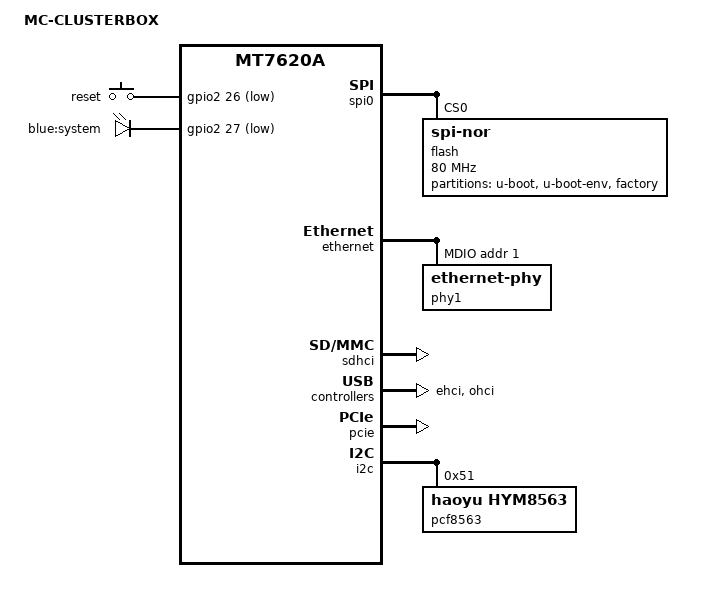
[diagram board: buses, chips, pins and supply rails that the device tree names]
#include "mt7620a.dtsi"

#include <dt-bindings/gpio/gpio.h>
#include <dt-bindings/input/input.h>

/ {
    compatible = "cluster-box-control","ralink,mt7620a-evb", "ralink,mt7620a-soc";
	model = "MC-CLUSTERBOX";

	chosen {
		bootargs = "console=ttyS0,115200 root=/dev/mmcblk0p2 rootwait rw";
	};

	aliases {
		led-boot = &led_system;
		led-failsafe = &led_system;
		led-running = &led_system;
		led-upgrade = &led_system;
	};

	keys {
		compatible = "gpio-keys";

		reset {
			label = "reset";
			gpios = <&gpio2 26 GPIO_ACTIVE_LOW>;
			linux,code = <KEY_RESTART>;
		};
	};

	leds {
		compatible = "gpio-leds";

		led_system: system {
			label = "blue:system";
			gpios = <&gpio2 27 GPIO_ACTIVE_LOW>;
		};
    };
};

&spi0 {
	status = "okay";

	flash@0 {
		compatible = "jedec,spi-nor";
		reg = <0>;
		spi-max-frequency = <80000000>;
		m25p,fast-read;

		partitions {
			compatible = "fixed-partitions";
			#address-cells = <1>;
			#size-cells = <1>;

			partition@0 {
				label = "u-boot";
				reg = <0x0 0x30000>;
				read-only;
			};

			partition@30000 {
				label = "u-boot-env";
				reg = <0x30000 0x10000>;
				read-only;
			};

			factory: partition@40000 {
				label = "factory";
				reg = <0x40000 0x10000>;
				read-only;
			};
		};
	};
};

&ethernet {
	pinctrl-names = "default";
	pinctrl-0 = <&mdio_pins>, <&rgmii1_pins>;

	nvmem-cells = <&macaddr_factory_4>;
	nvmem-cell-names = "mac-address";

	mediatek,portmap = "llllw";

	port@5 {
		status = "okay";
		phy-handle = <&phy1>;
		phy-mode = "rgmii";
	};

	mdio-bus {
		status = "okay";

		phy1: ethernet-phy@1 {
			reg = <1>;
			phy-mode = "rgmii";
		};
	};
};

&gsw {
	mediatek,ephy-base = /bits/ 8 <12>;
};

&sdhci {
	status = "okay";
};

&ehci {
	status = "okay";
};

&ohci {
	status = "okay";
};

&pcie {
	status = "okay";
};


&state_default {
	gpio {
		groups = "uartf", "wled";
		function = "gpio";
	};
};

&factory {
	compatible = "nvmem-cells";
	#address-cells = <1>;
	#size-cells = <1>;

	macaddr_factory_4: macaddr@4 {
		reg = <0x4 0x6>;
	};
};

&gpio0 {
	status = "okay";
};

&gpio1 {
	status = "okay";
};

&gpio2 {
	status = "okay";
};

&gpio3 {
	status = "okay";
};

&i2c {
	status = "okay";

	pcf8563: pcf8563@51 {
		compatible = "haoyu,hym8563";
		status = "okay";
		reg = <0x51>;
	};
};
